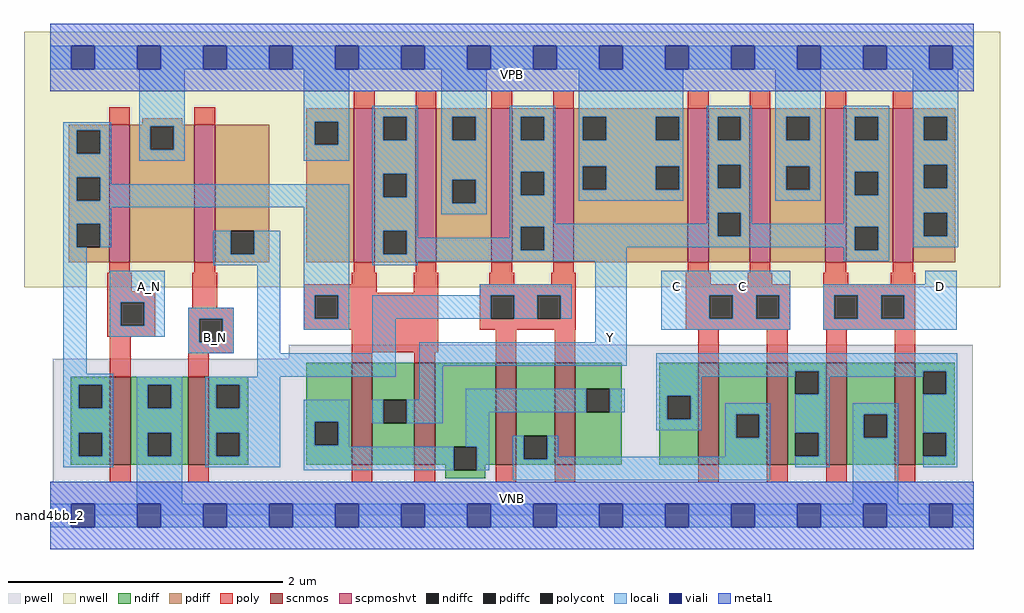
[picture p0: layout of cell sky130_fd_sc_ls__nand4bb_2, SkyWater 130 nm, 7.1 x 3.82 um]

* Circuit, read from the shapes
.subckt sky130_fd_sc_ls__nand4bb_2 A_N B_N C D VGND VNB VPB VPWR Y
XM1 VGND A_N n1 VNB sky130_fd_pr__nfet_01v8 w=0.64 l=0.15
XM2 n2 B_N VGND VNB sky130_fd_pr__nfet_01v8 w=0.64 l=0.15
XM3 Y n1 n3 VNB sky130_fd_pr__nfet_01v8 w=0.74 l=0.15 m=2
XM4 n4 n2 n3 VNB sky130_fd_pr__nfet_01v8 w=0.74 l=0.15 m=2
XM5 n4 C n5 VNB sky130_fd_pr__nfet_01v8 w=0.74 l=0.15 m=2
XM6 VGND D n5 VNB sky130_fd_pr__nfet_01v8 w=0.74 l=0.15 m=2
XM7 VPWR A_N n1 VPB sky130_fd_pr__pfet_01v8_hvt w=1 l=0.15
XM8 n2 B_N VPWR VPB sky130_fd_pr__pfet_01v8_hvt w=1 l=0.15
XM9 Y n1 VPWR VPB sky130_fd_pr__pfet_01v8_hvt w=1.12 l=0.15 m=2
XM10 Y n2 VPWR VPB sky130_fd_pr__pfet_01v8_hvt w=1.12 l=0.15 m=2
XM11 Y C VPWR VPB sky130_fd_pr__pfet_01v8_hvt w=1.12 l=0.15 m=2
XM12 Y D VPWR VPB sky130_fd_pr__pfet_01v8_hvt w=1.12 l=0.15 m=2
.ends

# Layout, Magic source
magic
tech sky130A
magscale 1 2
<< nwell >>
rect -38 332 1382 704
<< pwell >>
rect 347 228 1342 248
rect 4 49 1342 228
rect 0 0 1344 49
<< scnmos >>
rect 87 74 117 202
rect 201 74 231 202
rect 439 74 469 222
rect 530 74 560 222
rect 648 74 678 222
rect 734 74 764 222
rect 943 74 973 222
rect 1043 74 1073 222
rect 1129 74 1159 222
rect 1229 74 1259 222
<< scpmoshvt >>
rect 86 368 116 568
rect 210 368 240 568
rect 442 368 472 592
rect 532 368 562 592
rect 642 368 672 592
rect 732 368 762 592
rect 928 368 958 592
rect 1018 368 1048 592
rect 1128 368 1158 592
rect 1226 368 1256 592
<< ndiff >>
rect 30 190 87 202
rect 30 156 42 190
rect 76 156 87 190
rect 30 120 87 156
rect 30 86 42 120
rect 76 86 87 120
rect 30 74 87 86
rect 117 190 201 202
rect 117 156 142 190
rect 176 156 201 190
rect 117 120 201 156
rect 117 86 142 120
rect 176 86 201 120
rect 117 74 201 86
rect 231 190 288 202
rect 231 156 242 190
rect 276 156 288 190
rect 231 120 288 156
rect 231 86 242 120
rect 276 86 288 120
rect 231 74 288 86
rect 373 136 439 222
rect 373 102 385 136
rect 419 102 439 136
rect 373 74 439 102
rect 469 168 530 222
rect 469 134 485 168
rect 519 134 530 168
rect 469 74 530 134
rect 560 100 648 222
rect 560 74 587 100
rect 575 66 587 74
rect 621 74 648 100
rect 678 116 734 222
rect 678 82 689 116
rect 723 82 734 116
rect 678 74 734 82
rect 764 184 832 222
rect 764 150 780 184
rect 814 150 832 184
rect 764 74 832 150
rect 886 174 943 222
rect 886 140 898 174
rect 932 140 943 174
rect 886 74 943 140
rect 973 147 1043 222
rect 973 113 998 147
rect 1032 113 1043 147
rect 973 74 1043 113
rect 1073 210 1129 222
rect 1073 176 1084 210
rect 1118 176 1129 210
rect 1073 120 1129 176
rect 1073 86 1084 120
rect 1118 86 1129 120
rect 1073 74 1129 86
rect 1159 147 1229 222
rect 1159 113 1184 147
rect 1218 113 1229 147
rect 1159 74 1229 113
rect 1259 210 1316 222
rect 1259 176 1270 210
rect 1304 176 1316 210
rect 1259 120 1316 176
rect 1259 86 1270 120
rect 1304 86 1316 120
rect 1259 74 1316 86
rect 621 66 633 74
rect 575 54 633 66
<< pdiff >>
rect 134 568 192 578
rect 373 573 442 592
rect 27 560 86 568
rect 27 526 39 560
rect 73 526 86 560
rect 27 492 86 526
rect 27 458 39 492
rect 73 458 86 492
rect 27 424 86 458
rect 27 390 39 424
rect 73 390 86 424
rect 27 368 86 390
rect 116 566 210 568
rect 116 532 146 566
rect 180 532 210 566
rect 116 368 210 532
rect 240 414 319 568
rect 240 380 263 414
rect 297 380 319 414
rect 240 368 319 380
rect 373 539 385 573
rect 419 539 442 573
rect 373 368 442 539
rect 472 580 532 592
rect 472 546 485 580
rect 519 546 532 580
rect 472 497 532 546
rect 472 463 485 497
rect 519 463 532 497
rect 472 414 532 463
rect 472 380 485 414
rect 519 380 532 414
rect 472 368 532 380
rect 562 580 642 592
rect 562 546 585 580
rect 619 546 642 580
rect 562 488 642 546
rect 562 454 585 488
rect 619 454 642 488
rect 562 368 642 454
rect 672 580 732 592
rect 672 546 685 580
rect 719 546 732 580
rect 672 500 732 546
rect 672 466 685 500
rect 719 466 732 500
rect 672 420 732 466
rect 672 386 685 420
rect 719 386 732 420
rect 672 368 732 386
rect 762 580 928 592
rect 762 546 775 580
rect 809 546 881 580
rect 915 546 928 580
rect 762 508 928 546
rect 762 474 775 508
rect 809 474 881 508
rect 915 474 928 508
rect 762 368 928 474
rect 958 580 1018 592
rect 958 546 971 580
rect 1005 546 1018 580
rect 958 510 1018 546
rect 958 476 971 510
rect 1005 476 1018 510
rect 958 440 1018 476
rect 958 406 971 440
rect 1005 406 1018 440
rect 958 368 1018 406
rect 1048 580 1128 592
rect 1048 546 1071 580
rect 1105 546 1128 580
rect 1048 508 1128 546
rect 1048 474 1071 508
rect 1105 474 1128 508
rect 1048 368 1128 474
rect 1158 580 1226 592
rect 1158 546 1171 580
rect 1205 546 1226 580
rect 1158 500 1226 546
rect 1158 466 1171 500
rect 1205 466 1226 500
rect 1158 420 1226 466
rect 1158 386 1171 420
rect 1205 386 1226 420
rect 1158 368 1226 386
rect 1256 580 1317 592
rect 1256 546 1271 580
rect 1305 546 1317 580
rect 1256 510 1317 546
rect 1256 476 1271 510
rect 1305 476 1317 510
rect 1256 440 1317 476
rect 1256 406 1271 440
rect 1305 406 1317 440
rect 1256 368 1317 406
<< ndiffc >>
rect 42 156 76 190
rect 42 86 76 120
rect 142 156 176 190
rect 142 86 176 120
rect 242 156 276 190
rect 242 86 276 120
rect 385 102 419 136
rect 485 134 519 168
rect 587 66 621 100
rect 689 82 723 116
rect 780 150 814 184
rect 898 140 932 174
rect 998 113 1032 147
rect 1084 176 1118 210
rect 1084 86 1118 120
rect 1184 113 1218 147
rect 1270 176 1304 210
rect 1270 86 1304 120
<< pdiffc >>
rect 39 526 73 560
rect 39 458 73 492
rect 39 390 73 424
rect 146 532 180 566
rect 263 380 297 414
rect 385 539 419 573
rect 485 546 519 580
rect 485 463 519 497
rect 485 380 519 414
rect 585 546 619 580
rect 585 454 619 488
rect 685 546 719 580
rect 685 466 719 500
rect 685 386 719 420
rect 775 546 809 580
rect 881 546 915 580
rect 775 474 809 508
rect 881 474 915 508
rect 971 546 1005 580
rect 971 476 1005 510
rect 971 406 1005 440
rect 1071 546 1105 580
rect 1071 474 1105 508
rect 1171 546 1205 580
rect 1171 466 1205 500
rect 1171 386 1205 420
rect 1271 546 1305 580
rect 1271 476 1305 510
rect 1271 406 1305 440
<< poly >>
rect 86 568 116 594
rect 210 568 240 594
rect 442 592 472 618
rect 532 592 562 618
rect 642 592 672 618
rect 732 592 762 618
rect 928 592 958 618
rect 1018 592 1048 618
rect 1128 592 1158 618
rect 1226 592 1256 618
rect 86 353 116 368
rect 210 353 240 368
rect 442 353 472 368
rect 532 353 562 368
rect 642 353 672 368
rect 732 353 762 368
rect 928 353 958 368
rect 1018 353 1048 368
rect 1128 353 1158 368
rect 1226 353 1256 368
rect 83 326 119 353
rect 83 310 153 326
rect 83 276 103 310
rect 137 276 153 310
rect 207 302 243 353
rect 439 336 475 353
rect 369 324 475 336
rect 529 324 565 353
rect 639 336 675 353
rect 729 336 765 353
rect 369 320 565 324
rect 83 260 153 276
rect 201 286 267 302
rect 87 202 117 260
rect 201 252 217 286
rect 251 252 267 286
rect 369 286 385 320
rect 419 286 565 320
rect 369 270 565 286
rect 625 320 765 336
rect 625 286 641 320
rect 675 286 709 320
rect 743 286 765 320
rect 625 270 765 286
rect 925 336 961 353
rect 1015 336 1051 353
rect 1125 336 1161 353
rect 1223 336 1259 353
rect 925 320 1077 336
rect 925 286 959 320
rect 993 286 1027 320
rect 1061 286 1077 320
rect 925 270 1077 286
rect 1125 320 1259 336
rect 1125 286 1141 320
rect 1175 286 1209 320
rect 1243 286 1259 320
rect 1125 270 1259 286
rect 201 236 267 252
rect 439 237 565 270
rect 201 202 231 236
rect 439 222 469 237
rect 530 222 560 237
rect 648 222 678 270
rect 734 222 764 270
rect 943 222 973 270
rect 1043 222 1073 270
rect 1129 222 1159 270
rect 1229 222 1259 270
rect 87 48 117 74
rect 201 48 231 74
rect 439 48 469 74
rect 530 48 560 74
rect 648 48 678 74
rect 734 48 764 74
rect 943 48 973 74
rect 1043 48 1073 74
rect 1129 48 1159 74
rect 1229 48 1259 74
<< polycont >>
rect 103 276 137 310
rect 217 252 251 286
rect 385 286 419 320
rect 641 286 675 320
rect 709 286 743 320
rect 959 286 993 320
rect 1027 286 1061 320
rect 1141 286 1175 320
rect 1209 286 1243 320
<< locali >>
rect 0 649 31 683
rect 65 649 127 683
rect 161 649 223 683
rect 257 649 319 683
rect 353 649 415 683
rect 449 649 511 683
rect 545 649 607 683
rect 641 649 703 683
rect 737 649 799 683
rect 833 649 895 683
rect 929 649 991 683
rect 1025 649 1087 683
rect 1121 649 1183 683
rect 1217 649 1279 683
rect 1313 649 1344 683
rect 19 560 89 572
rect 19 526 39 560
rect 73 526 89 560
rect 19 492 89 526
rect 130 566 196 649
rect 130 532 146 566
rect 180 532 196 566
rect 130 516 196 532
rect 369 573 435 649
rect 369 539 385 573
rect 419 539 435 573
rect 369 516 435 539
rect 469 580 535 596
rect 469 546 485 580
rect 519 546 535 580
rect 19 458 39 492
rect 73 482 89 492
rect 469 497 535 546
rect 73 458 435 482
rect 19 448 435 458
rect 19 424 89 448
rect 19 390 39 424
rect 73 390 89 424
rect 19 206 53 390
rect 237 380 263 414
rect 297 380 335 414
rect 237 364 335 380
rect 87 310 167 356
rect 87 276 103 310
rect 137 276 167 310
rect 87 260 167 276
rect 201 286 267 302
rect 201 252 217 286
rect 251 252 267 286
rect 201 236 267 252
rect 301 236 335 364
rect 369 320 435 448
rect 469 463 485 497
rect 519 463 535 497
rect 469 414 535 463
rect 569 580 635 649
rect 569 546 585 580
rect 619 546 635 580
rect 569 488 635 546
rect 569 454 585 488
rect 619 454 635 488
rect 569 438 635 454
rect 669 580 735 596
rect 669 546 685 580
rect 719 546 735 580
rect 669 500 735 546
rect 669 466 685 500
rect 719 466 735 500
rect 469 380 485 414
rect 519 404 535 414
rect 669 424 735 466
rect 769 580 921 649
rect 769 546 775 580
rect 809 546 881 580
rect 915 546 921 580
rect 769 508 921 546
rect 769 474 775 508
rect 809 474 881 508
rect 915 474 921 508
rect 769 458 921 474
rect 955 580 1021 596
rect 955 546 971 580
rect 1005 546 1021 580
rect 955 510 1021 546
rect 955 476 971 510
rect 1005 476 1021 510
rect 955 440 1021 476
rect 1055 580 1121 649
rect 1055 546 1071 580
rect 1105 546 1121 580
rect 1055 508 1121 546
rect 1055 474 1071 508
rect 1105 474 1121 508
rect 1055 458 1121 474
rect 1155 580 1221 596
rect 1155 546 1171 580
rect 1205 546 1221 580
rect 1155 500 1221 546
rect 1155 466 1171 500
rect 1205 466 1221 500
rect 955 424 971 440
rect 669 420 971 424
rect 669 404 685 420
rect 519 386 685 404
rect 719 406 971 420
rect 1005 424 1021 440
rect 1155 424 1221 466
rect 1005 420 1221 424
rect 1005 406 1171 420
rect 719 390 1171 406
rect 719 386 839 390
rect 519 380 839 386
rect 469 370 839 380
rect 1155 386 1171 390
rect 1205 386 1221 420
rect 1255 580 1321 649
rect 1255 546 1271 580
rect 1305 546 1321 580
rect 1255 510 1321 546
rect 1255 476 1271 510
rect 1305 476 1321 510
rect 1255 440 1321 476
rect 1255 406 1271 440
rect 1305 406 1321 440
rect 1255 390 1321 406
rect 1155 370 1221 386
rect 469 364 535 370
rect 625 320 759 336
rect 369 286 385 320
rect 419 286 435 320
rect 369 270 435 286
rect 469 286 641 320
rect 675 286 709 320
rect 743 286 759 320
rect 469 236 503 286
rect 793 252 839 370
rect 889 320 1077 356
rect 1273 336 1319 356
rect 889 286 959 320
rect 993 286 1027 320
rect 1061 286 1077 320
rect 889 270 1077 286
rect 1125 320 1319 336
rect 1125 286 1141 320
rect 1175 286 1209 320
rect 1243 286 1319 320
rect 1125 270 1319 286
rect 19 190 92 206
rect 301 202 503 236
rect 537 218 839 252
rect 19 156 42 190
rect 76 156 92 190
rect 19 120 92 156
rect 19 86 42 120
rect 76 86 92 120
rect 19 70 92 86
rect 126 190 192 202
rect 126 156 142 190
rect 176 156 192 190
rect 126 120 192 156
rect 126 86 142 120
rect 176 86 192 120
rect 126 17 192 86
rect 226 190 335 202
rect 226 156 242 190
rect 276 156 335 190
rect 537 168 571 218
rect 882 210 1320 236
rect 882 202 1084 210
rect 226 120 335 156
rect 226 86 242 120
rect 276 86 335 120
rect 226 70 335 86
rect 369 136 435 168
rect 369 102 385 136
rect 419 102 435 136
rect 469 134 485 168
rect 519 134 571 168
rect 605 150 780 184
rect 814 150 836 184
rect 882 174 948 202
rect 369 100 435 102
rect 605 100 639 150
rect 882 140 898 174
rect 932 140 948 174
rect 1118 202 1270 210
rect 1118 176 1134 202
rect 882 124 948 140
rect 982 147 1048 163
rect 369 66 587 100
rect 621 66 639 100
rect 673 82 689 116
rect 723 85 739 116
rect 982 113 998 147
rect 1032 113 1048 147
rect 982 85 1048 113
rect 723 82 1048 85
rect 673 51 1048 82
rect 1084 120 1134 176
rect 1304 176 1320 210
rect 1118 86 1134 120
rect 1084 70 1134 86
rect 1168 147 1234 163
rect 1168 113 1184 147
rect 1218 113 1234 147
rect 1168 17 1234 113
rect 1270 120 1320 176
rect 1304 86 1320 120
rect 1270 70 1320 86
rect 0 -17 31 17
rect 65 -17 127 17
rect 161 -17 223 17
rect 257 -17 319 17
rect 353 -17 415 17
rect 449 -17 511 17
rect 545 -17 607 17
rect 641 -17 703 17
rect 737 -17 799 17
rect 833 -17 895 17
rect 929 -17 991 17
rect 1025 -17 1087 17
rect 1121 -17 1183 17
rect 1217 -17 1279 17
rect 1313 -17 1344 17
<< viali >>
rect 31 649 65 683
rect 127 649 161 683
rect 223 649 257 683
rect 319 649 353 683
rect 415 649 449 683
rect 511 649 545 683
rect 607 649 641 683
rect 703 649 737 683
rect 799 649 833 683
rect 895 649 929 683
rect 991 649 1025 683
rect 1087 649 1121 683
rect 1183 649 1217 683
rect 1279 649 1313 683
rect 31 -17 65 17
rect 127 -17 161 17
rect 223 -17 257 17
rect 319 -17 353 17
rect 415 -17 449 17
rect 511 -17 545 17
rect 607 -17 641 17
rect 703 -17 737 17
rect 799 -17 833 17
rect 895 -17 929 17
rect 991 -17 1025 17
rect 1087 -17 1121 17
rect 1183 -17 1217 17
rect 1279 -17 1313 17
<< metal1 >>
rect 0 683 1344 715
rect 0 649 31 683
rect 65 649 127 683
rect 161 649 223 683
rect 257 649 319 683
rect 353 649 415 683
rect 449 649 511 683
rect 545 649 607 683
rect 641 649 703 683
rect 737 649 799 683
rect 833 649 895 683
rect 929 649 991 683
rect 1025 649 1087 683
rect 1121 649 1183 683
rect 1217 649 1279 683
rect 1313 649 1344 683
rect 0 617 1344 649
rect 0 17 1344 49
rect 0 -17 31 17
rect 65 -17 127 17
rect 161 -17 223 17
rect 257 -17 319 17
rect 353 -17 415 17
rect 449 -17 511 17
rect 545 -17 607 17
rect 641 -17 703 17
rect 737 -17 799 17
rect 833 -17 895 17
rect 929 -17 991 17
rect 1025 -17 1087 17
rect 1121 -17 1183 17
rect 1217 -17 1279 17
rect 1313 -17 1344 17
rect 0 -49 1344 -17
<< labels >>
rlabel comment s 0 0 0 0 4 nand4bb_2
flabel pwell s 0 0 1344 49 0 FreeSans 200 0 0 0 VNB
port 6 nsew ground bidirectional
flabel nwell s 0 617 1344 666 0 FreeSans 200 0 0 0 VPB
port 7 nsew power bidirectional
flabel metal1 s 0 617 1344 666 0 FreeSans 340 0 0 0 VPWR
port 8 nsew power bidirectional abutment
flabel metal1 s 0 0 1344 49 0 FreeSans 340 0 0 0 VGND
port 5 nsew ground bidirectional abutment
flabel locali s 127 316 161 350 0 FreeSans 340 0 0 0 A_N
port 1 nsew signal input
flabel locali s 799 242 833 276 0 FreeSans 340 0 0 0 Y
port 9 nsew signal output
flabel locali s 895 316 929 350 0 FreeSans 340 0 0 0 C
port 3 nsew signal input
flabel locali s 991 316 1025 350 0 FreeSans 340 0 0 0 C
port 3 nsew signal input
flabel locali s 1279 316 1313 350 0 FreeSans 340 0 0 0 D
port 4 nsew signal input
flabel locali s 223 242 257 276 0 FreeSans 340 0 0 0 B_N
port 2 nsew signal input
<< properties >>
string LEFsite unit
string LEFclass CORE
string FIXED_BBOX 0 0 1344 666
string GDS_FILE $PDKPATH/libs.ref/sky130_fd_sc_ls/gds/sky130_fd_sc_ls.gds
string LEFsymmetry X Y
string GDS_END 3643548
string GDS_START 3632932
<< end >>
